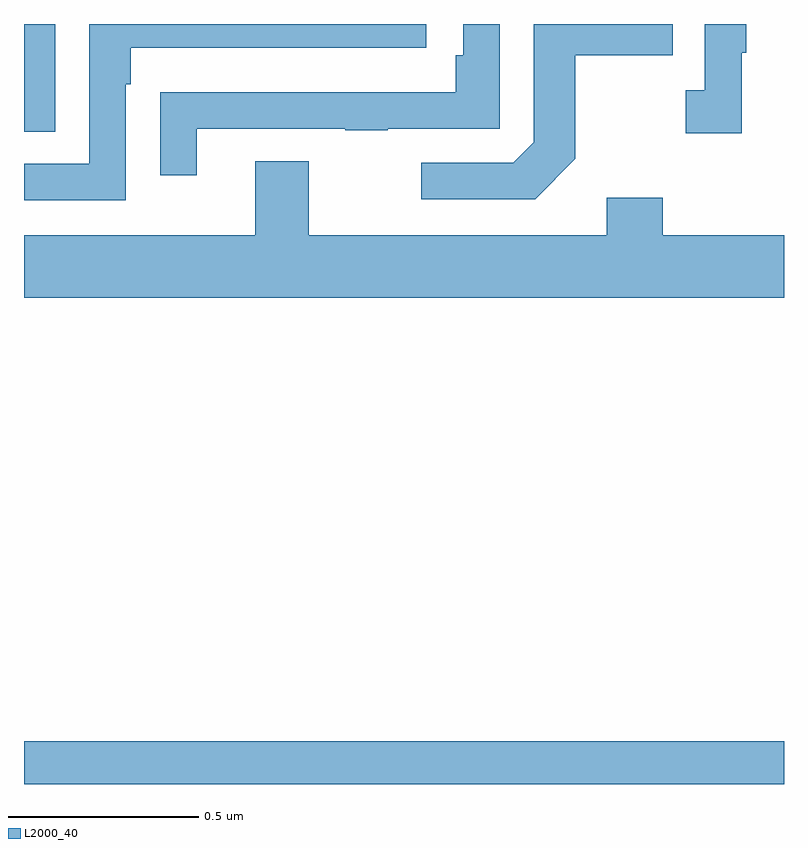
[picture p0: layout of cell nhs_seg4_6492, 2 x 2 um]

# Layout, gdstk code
import gdstk
lib = gdstk.Library(unit=1e-6, precision=1e-09)
def R(c, l, rs):  # rectangles x0, y0, x1, y1
    for r in rs: c.add(gdstk.rectangle(r[:2], r[2:], *l))
def P(c, l, *ps):  # polygons
    for p in ps: c.add(gdstk.Polygon(p, *l))
L2000_40 = (2000, 40)

nhs_seg4_6492 = lib.new_cell('nhs_seg4_6492')
R(nhs_seg4_6492, L2000_40, [(191,768.9,193,769.012), (191,770.617,191.082,770.9)])
P(nhs_seg4_6492, L2000_40, [(191.268,770.741),(191.281,770.741),(191.281,770.838),(192.058,770.838),(192.058,770.9),(191.172,770.9),(191.172,770.532),(191,770.532),(191,770.436),(191.268,770.436)],
  [(192.889,770.825),(192.901,770.825),(192.901,770.9),(192.792,770.9),(192.792,770.726),(192.741,770.726),(192.741,770.613),(192.889,770.613)],
  [(191.455,770.625),(191.845,770.625),(191.845,770.62),(191.957,770.62),(191.957,770.625),(192.252,770.625),(192.252,770.9),(192.156,770.9),(192.156,770.818),(192.136,770.818),(192.136,770.721),(191.461,770.721),(191.461,770.72),(191.359,770.72),(191.359,770.502),(191.455,770.502)],
  [(192.451,770.545),(192.451,770.818),(192.707,770.818),(192.707,770.9),(192.342,770.9),(192.342,770.589),(192.288,770.535),(192.045,770.535),(192.045,770.439),(192.345,770.439)],
  [(193,770.344),(192.681,770.344),(192.681,770.443),(192.533,770.443),(192.533,770.344),(191.749,770.344),(191.749,770.539),(191.609,770.539),(191.609,770.344),(191,770.344),(191,770.18),(193,770.18)])

lib.write_gds('nhs_seg4_6492.gds')
